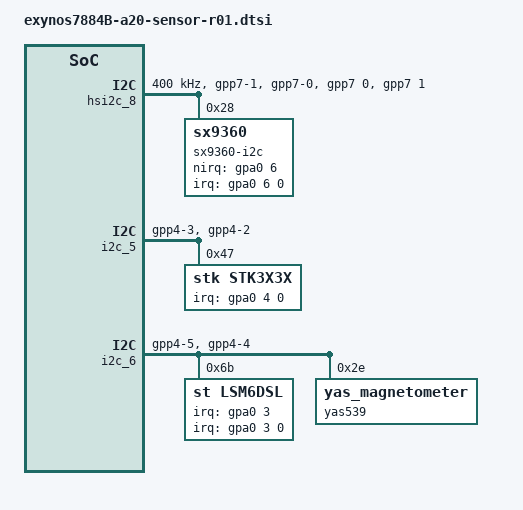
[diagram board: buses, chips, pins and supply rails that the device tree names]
/*
 * SAMSUNG UNIVERSAL7904 board device tree source
 *
 * Copyright (c) 2013 Samsung Electronics Co., Ltd.
 *		http://www.samsung.com
 *
 * This program is free software; you can redistribute it and/or modify
 * it under the terms of the GNU General Public License version 2 as
 * published by the Free Software Foundation.
*/

&pinctrl_0 { //11CB0000
	
	acc_int: acc-int {
		samsung,pins = "gpa0-3";
		samsung,pin-function = <0xf>;
		samsung,pin-pud = <0>;
		samsung,pin-drv = <0>;
	};
	
	grip_int: grip-int {
		samsung,pins = "gpa0-6";
		samsung,pin-function = <0xf>;
		samsung,pin-pud = <3>;
		samsung,pin-drv = <0>;
	};
		
	proxy_int: proxy-int {
		samsung,pins = "gpa0-4";
		samsung,pin-function = <0xf>;
		samsung,pin-pud = <0>;
		samsung,pin-drv = <0>;
	};

};


&pinctrl_3 { //139B0000

	grip_i2c: grip-2c {
		samsung,pins = "gpp7-1", "gpp7-0";
		samsung,pin-function = <2>;
		samsung,pin-pud = <3>;
		samsung,pin-drv = <0>;
	};

	i2c5_bus: i2c5-bus {
		samsung,pins = "gpp4-3", "gpp4-2";
		samsung,pin-function = <2>;
		samsung,pin-pud = <0>;
		samsung,pin-drv = <0>;
	};

	i2c6_bus: i2c6-bus {
		samsung,pins = "gpp4-5", "gpp4-4";
		samsung,pin-function = <2>;
		samsung,pin-pud = <0>;
		samsung,pin-drv = <0>;
	};
};

 &hsi2c_8 {
	gpios = <&gpp7 0 0
			&gpp7 1 0>;
	pinctrl-names = "default";
	pinctrl-0 = <&grip_i2c>;
	clock-frequency = <400000>;
	#address-cells = <1>;
	#size-cells = <0>;
	status = "okay";

	sx9360-i2c@28 {
		compatible = "sx9360";
		pinctrl-names = "default";
		pinctrl-0 = <&grip_int>;
		reg = <0x28>;
		interrupt-parent = <&gpa0>;
		interrupts = <6 0 0>;
		sx9360,nirq-gpio = <&gpa0 6 0>;

		sx9360,reggnrlctrl2 = <0x32>;		/* scanperiod: 102ms */
		sx9360,regafeparam1phm = <0x58>;	/* again : 7.5 pF, sampling freq : 62.50 khz */
		sx9360,regafeparam1phr = <0x36>;	/* reference phase again : 5.25 pF, sampling freq : 83.33 khz */
		sx9360,regproxctrl0phm = <0x1A>;	/* gain: x4, rawfilt : 1-1/4 */
		sx9360,regproxctrl0phr = <0x22>;	/* reference phase gain: x8, rawfilt : 1-1/4 */
		sx9360,regproxctrl5 = <0x23>;		/* threshold: 612 */
		sx9360,regproxctrl4 = <0x15>;		/* hysteresis: small, closedeb: 2 samples, fardeb: 2 samples */
		sx9360,regproxctrl3 = <0x0C>;		/* AVGPOSFILT: 1/256, AVGNEGFILT: 1/2 */
		sx9360,regafeparam0phm = <0x0F>;	/* resolution: 1204 */
		sx9360,regafeparam0phr = <0x0F>;	/* reference phase  resolution: 1204 */
	};
};

 &i2c_5 {
		status = "okay";
		#address-cells = <1>;
		#size-cells = <0>;
		samsung,i2c-sda-delay = <100>;
		samsung,i2c-max-bus-freq = <400000>;
		pinctrl-names = "default";
		pinctrl-0 = <&i2c5_bus>;

		stk@47 {
			compatible = "stk,stk3x3x";
			reg = <0x47>;
			pinctrl-names = "default";
			pinctrl-0 = <&proxy_int>;
			interrupt-parent = <&gpa0>;
			interrupts = <4 0 0>;
			stk,gpio_int = <&gpa0 4 0>;
			stk,prox_thd_h = <240>;
			stk,prox_thd_l = <220>;
			stk,sunlight_thd_h = <240>;
			stk,sunlight_thd_l = <220>;
			stk,first_cal_adc_limit = <200>;
			stk,first_cal_thd_h = <240>;
			stk,first_cal_thd_l = <220>;
			stk,intel_prst = <0>;
			stk,ps_it = <0x04>;
		};
 };

 &i2c_6 {

		status = "okay";
		#address-cells = <1>;
		#size-cells = <0>;
		samsung,i2c-sda-delay = <100>;
		samsung,i2c-max-bus-freq = <400000>;
		pinctrl-names = "default";
		pinctrl-0 = <&i2c6_bus>;

		lsm6dsl@6b {
			compatible = "st,lsm6dsl";
			reg = <0x6b>;
			gpio-controller;
			#gpio-cells = <2>;
			pinctrl-names = "default";
			pinctrl-0 = <&acc_int>;
			interrupt-parent = <&gpa0>;
			interrupts = <3 0 0>;
			st,irq_gpio = <&gpa0 3 0>;
			st,orientation = <0 1 1 1 2 1 1 1 0>;
		};

		yas539@2e {
			compatible = "yas_magnetometer";
			reg = <0x2e>;
			yas,orientation = <2>;
			yas,softiron = <9730 490 100 490 9990 10 100 10 10290>;
			yas,softiron_sign = <2 2 2 2 2 2 2 2 2>;
		};
 };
